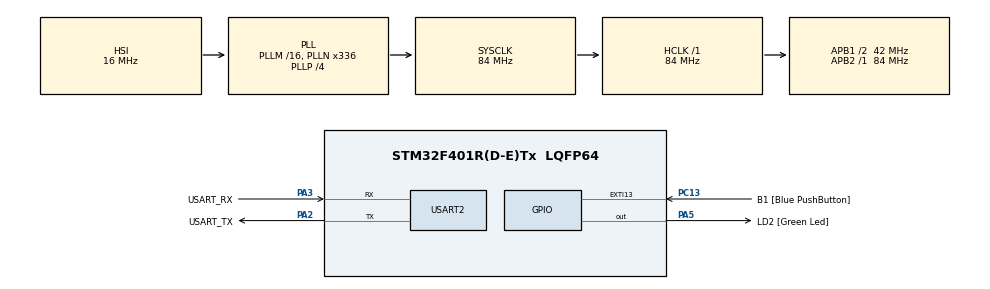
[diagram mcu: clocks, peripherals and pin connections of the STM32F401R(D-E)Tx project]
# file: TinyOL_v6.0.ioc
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Mcu.Family=STM32F4
Mcu.Name=STM32F401R(D-E)Tx
Mcu.Package=LQFP64
NVIC.EXTI15_10_IRQn=true\:0\:0\:false\:false\:true\:true\:true
NVIC.FPU_IRQn=true\:0\:0\:false\:false\:true\:true\:false
NVIC.PriorityGroup=NVIC_PRIORITYGROUP_0
NVIC.TIM1_UP_TIM10_IRQn=true\:0\:0\:false\:false\:true\:true\:true
NVIC.USART2_IRQn=true\:0\:0\:false\:false\:true\:true\:true
PA13.GPIO_Label=TMS
PA13.Mode=Serial_Wire
PA13.Signal=SYS_JTMS-SWDIO
PA14.GPIO_Label=TCK
PA14.Mode=Serial_Wire
PA14.Signal=SYS_JTCK-SWCLK
PA2.GPIO_Label=USART_TX
PA2.GPIO_Mode=GPIO_MODE_AF_PP
PA2.GPIO_PuPd=GPIO_NOPULL
PA2.GPIO_Speed=GPIO_SPEED_FREQ_LOW
PA2.Mode=Asynchronous
PA2.Signal=USART2_TX
PA3.GPIO_Label=USART_RX
PA3.GPIO_Mode=GPIO_MODE_AF_PP
PA3.GPIO_PuPd=GPIO_NOPULL
PA3.GPIO_Speed=GPIO_SPEED_FREQ_LOW
PA3.Mode=Asynchronous
PA3.Signal=USART2_RX
PA5.GPIO_Label=LD2 [Green Led]
PA5.GPIO_Mode=GPIO_MODE_OUTPUT_PP
PA5.GPIO_PuPd=GPIO_NOPULL
PA5.GPIO_Speed=GPIO_SPEED_FREQ_LOW
PA5.Signal=GPIO_Output
PB3.GPIO_Label=SWO
PB3.Signal=SYS_JTDO-SWO
PC13-ANTI_TAMP.GPIO_Label=B1 [Blue PushButton]
PC13-ANTI_TAMP.GPIO_ModeDefaultEXTI=GPIO_MODE_IT_FALLING
PC13-ANTI_TAMP.GPIO_PuPd=GPIO_NOPULL
PC13-ANTI_TAMP.Signal=GPXTI13
PC14-OSC32_IN.Mode=LSE-External-Oscillator
PC14-OSC32_IN.Signal=RCC_OSC32_IN
PC15-OSC32_OUT.Mode=LSE-External-Oscillator
PC15-OSC32_OUT.Signal=RCC_OSC32_OUT
PH0\ -\ OSC_IN.Mode=HSE-External-Clock-Source
PH0\ -\ OSC_IN.Signal=RCC_OSC_IN
PH1\ -\ OSC_OUT.Mode=HSE-External-Clock-Source
PH1\ -\ OSC_OUT.Signal=RCC_OSC_OUT
ProjectManager.HeapSize=0x200
ProjectManager.StackSize=0x1000
ProjectManager.TargetToolchain=STM32CubeIDE
RCC.48MHZClocksFreq_Value=48000000
RCC.AHBFreq_Value=84000000
RCC.APB1CLKDivider=RCC_HCLK_DIV2
RCC.APB1Freq_Value=42000000
RCC.APB1TimFreq_Value=84000000
RCC.APB2Freq_Value=84000000
RCC.APB2TimFreq_Value=84000000
RCC.CortexFreq_Value=84000000
RCC.HCLKFreq_Value=84000000
RCC.HSE_VALUE=8000000
RCC.HSI_VALUE=16000000
RCC.PLLN=336
RCC.PLLP=RCC_PLLP_DIV4
RCC.PLLQ=7
RCC.SYSCLKFreq_VALUE=84000000
RCC.SYSCLKSource=RCC_SYSCLKSOURCE_PLLCLK
RCC.VCOOutputFreq_Value=336000000
STMicroelectronics.X-CUBE-AI.6.0.0.ActivationBufferSizeList=5472
STMicroelectronics.X-CUBE-AI.6.0.0.ApplicationCcDeviceJjApplication=ApplicationTemplate
STMicroelectronics.X-CUBE-AI.6.0.0.HeapSize=0x200
STMicroelectronics.X-CUBE-AI.6.0.0.InternalRamActivationBufferMaxSize=AI_NETWORK_DATA_ACTIVATIONS_SIZE
STMicroelectronics.X-CUBE-AI.6.0.0.LatestDirectoryUsed-3ebff0120cf1ca4b14aea685dba57edb4f4d11561083dedf7dc6e8eccb781c61=C\:\\Users\\massi\\UNI\\Magistrale\\Anno 5\\Semestre 2\\Tesi\\Code\\Python\\Saved_models\\ML_model
STMicroelectronics.X-CUBE-AI.6.0.0.MaximumNumberOfInputLayer=1
STMicroelectronics.X-CUBE-AI.6.0.0.MaximumNumberOfOutputLayer=1
STMicroelectronics.X-CUBE-AI.6.0.0.MaximumSizeOfInputLayer=AI_NETWORK_IN_1_SIZE_BYTES
STMicroelectronics.X-CUBE-AI.6.0.0.MaximumSizeOfOutputLayer=AI_NETWORK_OUT_1_SIZE_BYTES
STMicroelectronics.X-CUBE-AI.6.0.0.ModelActualCompression-3ebff0120cf1ca4b14aea685dba57edb4f4d11561083dedf7dc6e8eccb781c61=0.0
STMicroelectronics.X-CUBE-AI.6.0.0.ModelCompression-3ebff0120cf1ca4b14aea685dba57edb4f4d11561083dedf7dc6e8eccb781c61=1
STMicroelectronics.X-CUBE-AI.6.0.0.ModelFlashOccupation-3ebff0120cf1ca4b14aea685dba57edb4f4d11561083dedf7dc6e8eccb781c61=878592
STMicroelectronics.X-CUBE-AI.6.0.0.ModelHashList=3ebff0120cf1ca4b14aea685dba57edb4f4d11561083dedf7dc6e8eccb781c61
STMicroelectronics.X-CUBE-AI.6.0.0.ModelKind-3ebff0120cf1ca4b14aea685dba57edb4f4d11561083dedf7dc6e8eccb781c61=KERAS
STMicroelectronics.X-CUBE-AI.6.0.0.ModelMacc-3ebff0120cf1ca4b14aea685dba57edb4f4d11561083dedf7dc6e8eccb781c61=220160
STMicroelectronics.X-CUBE-AI.6.0.0.ModelName-3ebff0120cf1ca4b14aea685dba57edb4f4d11561083dedf7dc6e8eccb781c61=network
STMicroelectronics.X-CUBE-AI.6.0.0.ModelNameList=network
STMicroelectronics.X-CUBE-AI.6.0.0.ModelRamOccupation-3ebff0120cf1ca4b14aea685dba57edb4f4d11561083dedf7dc6e8eccb781c61=5472
STMicroelectronics.X-CUBE-AI.6.0.0.ModelStructureFile-3ebff0120cf1ca4b14aea685dba57edb4f4d11561083dedf7dc6e8eccb781c61=C\:\\Users\\massi\\UNI\\Magistrale\\Anno 5\\Semestre 2\\Tesi\\Code\\Python\\Saved_models\\ML_model\\model.h5
STMicroelectronics.X-CUBE-AI.6.0.0.ModelType-3ebff0120cf1ca4b14aea685dba57edb4f4d11561083dedf7dc6e8eccb781c61=Saved model
STMicroelectronics.X-CUBE-AI.6.0.0.StackSize=0x1000
STMicroelectronics.X-CUBE-AI.6.0.0.WorkingBufferStartAddrList=0xFFFFFFFF
STMicroelectronics.X-CUBE-AI.6.0.0.XAaCUBEAaAICcArtificialOoIntelligenceJjCore=true
TIM10.Period=100
TIM10.Prescaler=8400
USART2.VirtualMode=VM_ASYNC
VP_CRC_VS_CRC.Mode=CRC_Activate
VP_STMicroelectronics.X-CUBE-AI_VS_ArtificialOoIntelligenceJjXAaCUBEAaAI_6.0.0.Mode=ArtificialOoIntelligenceJjXAaCUBEAaAI
VP_STMicroelectronics.X-CUBE-AI_VS_DeviceJjApplication_6.0.0.Mode=DeviceJjApplication
VP_TIM10_VS_ClockSourceINT.Mode=Enable_Timer
board=NUCLEO-F401RE

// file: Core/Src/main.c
/* USER CODE BEGIN Header */
/**
  ******************************************************************************
  * @file           : main.c
  * @brief          : Main program body
  ******************************************************************************
  * @attention
  *
  * <h2><center>&copy; Copyright (c) 2021 STMicroelectronics.
  * All rights reserved.</center></h2>
  *
  * This software component is licensed by ST under Ultimate Liberty license
  * SLA0044, the "License"; You may not use this file except in compliance with
  * the License. You may obtain a copy of the License at:
  *                             www.st.com/SLA0044
  *
  ******************************************************************************
  */
/* USER CODE END Header */
#include "main.h"
#include "crc.h"
#include "tim.h"
#include "usart.h"
#include "gpio.h"
#include "app_x-cube-ai.h"

/* USER CODE BEGIN Includes */

// Includes for the STM AI
#include "network.h"
#include "network_data.h"
#include "ai_platform.h"
#include "ai_datatypes_defines.h"

// My library include
#include "TinyOL.h"

// Includes that contains MY DATA
#include "layer_weights.h"

// Include accelerometer library
//#include "iks01a2_motion_sensors.h"

/* USER CODE END Includes */

/* USER CODE BEGIN PD */

// 0 -> data from accelerometer    2-> data from UART
// #############
		#define DATA_MODE 2

/* USER CODE END PD */

/* USER CODE BEGIN PV */

// Define debug messages

// Accelerometer parameters
#if DATA_MODE == 0
float accelerometer_odr;
float accelerometer_sens;
int32_t accelerometer_fs;
IKS01A2_MOTION_SENSOR_Axes_t acceleration;
#endif

uint8_t counter = 0;
int enable_acquisition = 0;
int data_counter = 0;
int max_sample = 200; 	// Record data for 2 seconds

// AI parameters
ai_float in_data[AI_NETWORK_IN_1_SIZE];
ai_float out_data[AI_NETWORK_OUT_1_SIZE];

int enable_inference = 0;
char letter[1];
int rnd;

uint8_t msgInfo[9];

// Time passed parameters
uint32_t startTime;
uint32_t endFrozenTime;
uint32_t endOLTime;

/* USER CODE END PV */

void SystemClock_Config(void);

int main(void)
{

  /* MCU Configuration--------------------------------------------------------*/

  /* Reset of all peripherals, Initializes the Flash interface and the Systick. */
  HAL_Init();

  /* Configure the system clock */
  SystemClock_Config();

  /* Initialize all configured peripherals */
  MX_GPIO_Init();
  MX_CRC_Init();
  MX_USART2_UART_Init();
  MX_TIM10_Init();
  MX_X_CUBE_AI_Init();
  /* USER CODE BEGIN 2 */

  // Start timer for the data recording
#if DATA_MODE == 0
  msgLen = sprintf(msgDebug, "\n\n\r### TEST X-CUBEMX-AI ###");
  HAL_UART_Transmit(&huart2, (uint8_t*)msgDebug, msgLen, 100);

  int init_acc = IKS01A2_MOTION_SENSOR_Init(IKS01A2_LSM6DSL_0 , MOTION_ACCELERO );
  if ( init_acc == 0 ){
	  msgLen = sprintf(msgDebug, "\n\n\r>Accelerometer initialisation: completed");
	  HAL_UART_Transmit(&huart2, (uint8_t*)msgDebug, msgLen, 1000);
  }

  // Accelerometer enabling
  int enable_acc = IKS01A2_MOTION_SENSOR_Enable(IKS01A2_LSM6DSL_0, MOTION_ACCELERO );
  if ( enable_acc == 0){
	  msgLen = sprintf(msgDebug, "\n\r>Accelerometer enabling: completed");
	  HAL_UART_Transmit(&huart2, (uint8_t*)msgDebug, msgLen, 1000);
  }

  IKS01A2_MOTION_SENSOR_GetOutputDataRate(IKS01A2_LSM6DSL_0, MOTION_ACCELERO, &accelerometer_odr);
  IKS01A2_MOTION_SENSOR_GetSensitivity(IKS01A2_LSM6DSL_0, MOTION_ACCELERO, &accelerometer_sens);
  IKS01A2_MOTION_SENSOR_GetFullScale(IKS01A2_LSM6DSL_0, MOTION_ACCELERO, &accelerometer_fs);

  msgLen = sprintf(msgDebug, ">\n\r Output rate:%f Hz	Sensitivity:%f g FullScale:%ld g\r\n",accelerometer_odr, accelerometer_sens, accelerometer_fs);
  HAL_UART_Transmit(&huart2, (uint8_t*)msgDebug, msgLen, 1000);

  HAL_TIM_Base_Start_IT(&htim10);
#endif

  // ***** Initialize the OL layer ****************************

  OL_LAYER_STRUCT OL_layer;

  // Assign the weight and bias matrices

  OL_layer.WIDTH = 5;
  OL_layer.HEIGHT = AI_NETWORK_OUT_1_SIZE;

  OL_layer.n_epochs = 1;
  OL_layer.l_rate = 0.01;

  OL_layer.weights = (float*)calloc(OL_layer.WIDTH*OL_layer.HEIGHT, sizeof(float));
  if(OL_layer.weights==NULL){
	  msgLen = sprintf(msgDebug, "\n\r ERROR: Failed to allocate memory for weights");
	  HAL_UART_Transmit(&huart2, (uint8_t*)msgDebug, msgLen, 100);
  }

  OL_layer.biases = (float*)calloc(OL_layer.WIDTH, sizeof(float));
  if(OL_layer.biases==NULL){
	  msgLen = sprintf(msgDebug, "\n\r ERROR: Failed to allocate memory for biases");
	  HAL_UART_Transmit(&huart2, (uint8_t*)msgDebug, msgLen, 100);
  }

  OL_layer.label = (char*)calloc(OL_layer.WIDTH, sizeof(char));
  if(OL_layer.label==NULL){
	  msgLen = sprintf(msgDebug, "\n\r ERROR: Failed to allocate memory for label");
	  HAL_UART_Transmit(&huart2, (uint8_t*)msgDebug, msgLen, 100);
  }

  OL_layer.y_pred = (float*)calloc(OL_layer.WIDTH, sizeof(float));
  if(OL_layer.y_pred==NULL){
	  msgLen = sprintf(msgDebug, "\n\r ERROR: Failed to allocate memory for y_pred");
	  HAL_UART_Transmit(&huart2, (uint8_t*)msgDebug, msgLen, 100);
  }

  // ***********************************

  // Fill up the initial labels
  OL_layer.label[0] = 'A';
  OL_layer.label[1] = 'E';
  OL_layer.label[2] = 'I';
  OL_layer.label[3] = 'O';
  OL_layer.label[4] = 'U';

  // Fill up weigths and biases
  for(int i=0; i<OL_layer.WIDTH*OL_layer.HEIGHT; i++){
  	  OL_layer.weights[i]=saved_weights[i];
  }

  for(int i=0; i<OL_layer.WIDTH; i++){
	  OL_layer.biases[i]=saved_biases[i];
  }

  //Create container for the output prediction of OL layer
  float * y_true = (float*)calloc(OL_layer.WIDTH, sizeof(float));

  // ***********************************

#if DATA_MODE == 0
  msgLen = sprintf(msgDebug, "\n\n\r Initializations done\n\r");
  HAL_UART_Transmit(&huart2, (uint8_t*)msgDebug, msgLen, 100);
  msgLen = sprintf(msgDebug, "\n\n\r Data acquisition mode: ACCELEROMETER\n\r");
  HAL_UART_Transmit(&huart2, (uint8_t*)msgDebug, msgLen, 100);
  msgLen = sprintf(msgDebug, "\n\n\r When ready press BLUE button for inference.\n");
  HAL_UART_Transmit(&huart2, (uint8_t*)msgDebug, msgLen, 100);
#endif

  /* USER CODE END 2 */

  /* Infinite loop */
  /* USER CODE BEGIN WHILE */
  while (1)
  {

	  // When blue button is pressed perform these actions
	  if(enable_inference == 1){

		  // Reset the info carried from the OL layer
		  OL_resetInfo(&OL_layer);

#if DATA_MODE == 2
		  uint8_t tmp;
		  for(int k=0; k<600; k++){
			  tmp = msgRxData[k*2];
			  if((tmp&128) == 128){
				  tmp = tmp & 127;
				  in_data[k] = -((tmp << 8) | (msgRxData[(k*2)+1]));
			  }else{
				  in_data[k] = (msgRxData[(k*2)] << 8) | (msgRxData[(k*2)+1]);
			  }

		  }
#endif

#if DATA_MODE == 0
		  msgLen = sprintf(msgDebug, "\n\r    Begin now inference num: %d\n", counter);
		  HAL_UART_Transmit(&huart2, (uint8_t*)msgDebug, msgLen, 100);
#endif

		  counter +=1;

		  startTime = HAL_GetTick();

		  // Perform inference from FROZEN MODEL
		  ai_run_v2(&in_data, &out_data);

		  endFrozenTime = HAL_GetTick();

		  // Check if the letter is known, otherwise increase dimensions
		  OL_checkNewClass(&OL_layer, letter);
		  OL_lettToSoft(&OL_layer, letter, y_true);

		  // Perform training on last captured sample
		  OL_train(&OL_layer, out_data, y_true, letter);

		  endOLTime = HAL_GetTick();

#if DATA_MODE == 0
		  // Output messages
		  PRINT_checkLabels(&OL_layer, y_true);

		  msgLen = sprintf(msgDebug, "\r    Time needed:  frozen model-> %ld ms;    OL layer -> %ld ms;    Total -> %ld ms \n\n\r", endFrozenTime-startTime, endOLTime-endFrozenTime, endOLTime-startTime);
		  HAL_UART_Transmit(&huart2, (uint8_t*)msgDebug, msgLen, 100);
#else

		  // Send msg to pc with informations about inference encoded
		  msgInfo[0] = counter;
		  msgInfo[1] = (endFrozenTime-startTime);
		  msgInfo[2] = (endOLTime-endFrozenTime);
		  msgInfo[3] = OL_layer.new_class;
		  msgInfo[4] = OL_layer.prediction_correct;
		  msgInfo[5] = OL_layer.w_update;
		  msgInfo[6] = OL_layer.WIDTH;
		  msgInfo[7] = OL_layer.HEIGHT;
		  msgInfo[8] = OL_layer.vowel_guess;

		  HAL_UART_Transmit(&huart2, (uint8_t*)msgInfo, 9, 100);
#endif

		  HAL_GPIO_TogglePin(GPIOA, GPIO_PIN_5);
		  enable_inference = 0;
	  }

#if DATA_MODE == 0
	  HAL_Delay(250);
	  msgLen = sprintf(msgDebug, ".");
	  HAL_UART_Transmit(&huart2, (uint8_t*)msgDebug, msgLen, 100);
#endif

    /* USER CODE END WHILE */

  }
}

void SystemClock_Config(void)
{
  RCC_OscInitTypeDef RCC_OscInitStruct = {0};
  RCC_ClkInitTypeDef RCC_ClkInitStruct = {0};

  /** Configure the main internal regulator output voltage
  */
  __HAL_RCC_PWR_CLK_ENABLE();
  __HAL_PWR_VOLTAGESCALING_CONFIG(PWR_REGULATOR_VOLTAGE_SCALE2);
  /** Initializes the RCC Oscillators according to the specified parameters
  * in the RCC_OscInitTypeDef structure.
  */
  RCC_OscInitStruct.OscillatorType = RCC_OSCILLATORTYPE_HSI;
  RCC_OscInitStruct.HSIState = RCC_HSI_ON;
  RCC_OscInitStruct.HSICalibrationValue = RCC_HSICALIBRATION_DEFAULT;
  RCC_OscInitStruct.PLL.PLLState = RCC_PLL_ON;
  RCC_OscInitStruct.PLL.PLLSource = RCC_PLLSOURCE_HSI;
  RCC_OscInitStruct.PLL.PLLM = 16;
  RCC_OscInitStruct.PLL.PLLN = 336;
  RCC_OscInitStruct.PLL.PLLP = RCC_PLLP_DIV4;
  RCC_OscInitStruct.PLL.PLLQ = 7;
  if (HAL_RCC_OscConfig(&RCC_OscInitStruct) != HAL_OK)
  {
    Error_Handler();
  }
  /** Initializes the CPU, AHB and APB buses clocks
  */
  RCC_ClkInitStruct.ClockType = RCC_CLOCKTYPE_HCLK|RCC_CLOCKTYPE_SYSCLK
                              |RCC_CLOCKTYPE_PCLK1|RCC_CLOCKTYPE_PCLK2;
  RCC_ClkInitStruct.SYSCLKSource = RCC_SYSCLKSOURCE_PLLCLK;
  RCC_ClkInitStruct.AHBCLKDivider = RCC_SYSCLK_DIV1;
  RCC_ClkInitStruct.APB1CLKDivider = RCC_HCLK_DIV2;
  RCC_ClkInitStruct.APB2CLKDivider = RCC_HCLK_DIV1;

  if (HAL_RCC_ClockConfig(&RCC_ClkInitStruct, FLASH_LATENCY_2) != HAL_OK)
  {
    Error_Handler();
  }
}

/* USER CODE BEGIN 4 */

void HAL_GPIO_EXTI_Callback(uint16_t GPIO_Pin){

	if(GPIO_Pin == B1_Pin){

		HAL_GPIO_TogglePin(GPIOA, GPIO_PIN_5);

#if DATA_MODE == 0
		enable_acquisition = 1;

		msgLen = sprintf(msgDebug, "\n\r    Insert the letter you will draw (in caps):");
		HAL_UART_Transmit(&huart2, (uint8_t*)msgDebug, msgLen, 100);
		HAL_UART_Receive(&huart2, (uint8_t*)msgRx, 1, 100);
		letter[0] = msgRx[0];
#elif DATA_MODE == 2

		if(enable_inference == 0){

			msgLen = sprintf(msgDebug, "OK");
			HAL_UART_Transmit(&huart2, (uint8_t*)msgDebug, msgLen, 100);		// Send to pc message in order to sync

			HAL_UART_Receive(&huart2, (uint8_t*)msgRxData, DATA_LEN, 100);	    // Receive all the data

			HAL_UART_Receive(&huart2, (uint8_t*)msgRxLett, LETTER_LEN, 100);		// Receive the label

			letter[0] = msgRxLett[0];

			enable_inference = 1;
		}
#endif
	}
}

#if DATA_MODE == 0
void HAL_TIM_PeriodElapsedCallback( TIM_HandleTypeDef *htim){

	if(data_counter == max_sample){

		data_counter=0;
		enable_acquisition=0;
		enable_inference = 1;

	}else if(enable_acquisition == 1){

		data_counter ++;
		IKS01A2_MOTION_SENSOR_GetAxes(IKS01A2_LSM6DSL_0, MOTION_ACCELERO, &acceleration);
	    msgLen = sprintf(msgDebug, "%ld,%ld,%ld\r\n", (int32_t)acceleration.x, (int32_t)acceleration.y, (int32_t)acceleration.z);
		HAL_UART_Transmit(&huart2, (uint8_t*)msgDebug, msgLen, 1000);

		in_data[data_counter] = acceleration.x;
		in_data[data_counter+max_sample] =  acceleration.y;
		in_data[data_counter+2*max_sample] = acceleration.z;
	}
}
#endif

/* USER CODE END 4 */

void Error_Handler(void)
{
  __disable_irq();
  while (1)
  {
  }
}

/************************ (C) COPYRIGHT STMicroelectronics *****END OF FILE****/
